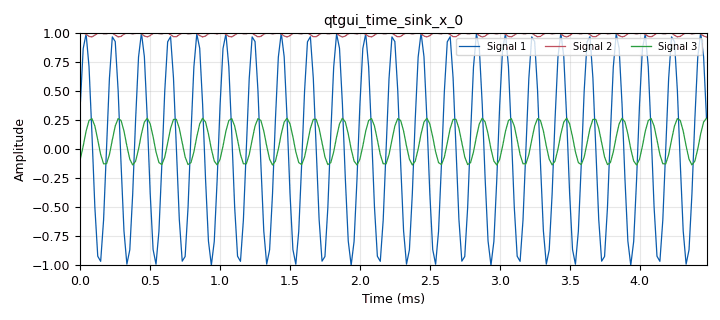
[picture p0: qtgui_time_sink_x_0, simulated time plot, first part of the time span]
options:
  parameters:
    author: Nolan Cameron and Aidan Slator
    generate_options: qt_gui
    id: ECE380Lab4Ex1
    output_language: python
    title: Ece 380 Lab 4 Ex1
  states: {}

blocks:
- name: beta
  id: variable_qtgui_range
  parameters:
    gui_hint: 1,2,1,1
    start: '0'
    step: '0.1'
    stop: '20'
    value: '0.2'
  states: {}
- name: f_dev_max
  id: variable
  parameters:
    value: '1000'
  states: {}
- name: samp_rate
  id: variable
  parameters:
    value: '48000'
  states: {}
- name: analog_frequency_modulator_fc_0
  id: analog_frequency_modulator_fc
  parameters:
    sensitivity: 2*pi*f_dev_max/samp_rate
  states: {}
- name: analog_sig_source_x_0
  id: analog_sig_source_x
  parameters:
    amp: '1'
    freq: f_dev_max/beta
    offset: '0'
    phase: '0'
    samp_rate: samp_rate
    type: float
    waveform: analog.GR_COS_WAVE
  states: {}
- name: blocks_complex_to_float_0
  id: blocks_complex_to_float
  parameters: {}
  states: {}
- name: import_0
  id: import
  parameters:
    imports: from math import pi
  states: {}
- name: qtgui_time_sink_x_0
  id: qtgui_time_sink_x
  parameters:
    grid: 'True'
    gui_hint: 0,2,1,1
    nconnections: '3'
    size: '2400'
    srate: samp_rate
    tr_level: '0.5'
    tr_mode: qtgui.TRIG_MODE_NORM
    type: float
  states: {}

connections:
- [analog_frequency_modulator_fc_0, '0', blocks_complex_to_float_0, '0']
- [analog_sig_source_x_0, '0', analog_frequency_modulator_fc_0, '0']
- [analog_sig_source_x_0, '0', qtgui_time_sink_x_0, '0']
- [blocks_complex_to_float_0, '0', qtgui_time_sink_x_0, '1']
- [blocks_complex_to_float_0, '1', qtgui_time_sink_x_0, '2']

metadata:
  file_format: 1
  grc_version: 3.9.7.0
